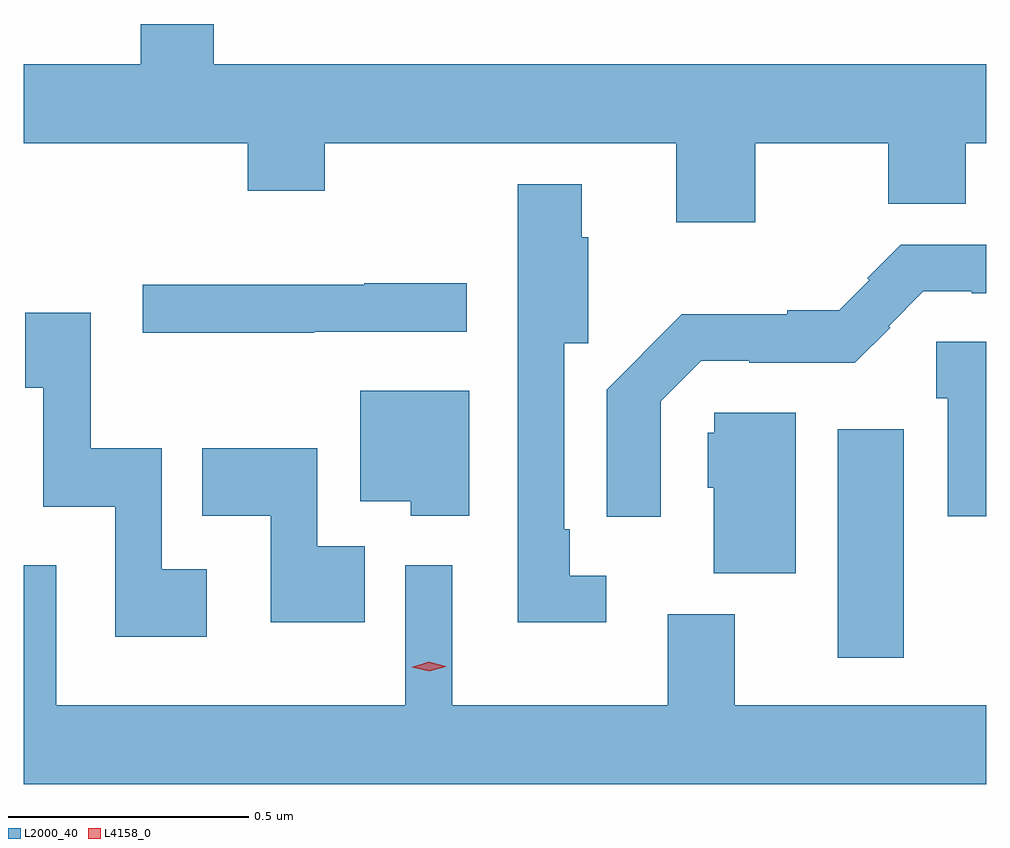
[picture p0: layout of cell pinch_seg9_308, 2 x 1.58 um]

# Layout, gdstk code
import gdstk
lib = gdstk.Library(unit=1e-6, precision=1e-09)
def R(c, l, rs):  # rectangles x0, y0, x1, y1
    for r in rs: c.add(gdstk.rectangle(r[:2], r[2:], *l))
def P(c, l, *ps):  # polygons
    for p in ps: c.add(gdstk.Polygon(p, *l))
L2000_40 = (2000, 40)
L4158_0 = (4158, 0)

pinch_seg9_308 = lib.new_cell('pinch_seg9_308')
R(pinch_seg9_308, L2000_40, [(516.122,1190.022,516.259,1190.497)])
P(pinch_seg9_308, L2000_40, [(515.95,1191.092),(516.227,1191.092),(516.227,1190.966),(516.388,1190.966),(516.388,1191.092),(516.43,1191.092),(516.43,1191.256),(514.825,1191.256),(514.825,1191.34),(514.673,1191.34),(514.673,1191.256),(514.43,1191.256),(514.43,1191.092),(514.895,1191.092),(514.895,1190.993),(515.055,1190.993),(515.055,1191.092),(515.786,1191.092),(515.786,1190.928),(515.95,1190.928)],
  [(515.641,1190.193),(515.565,1190.193),(515.565,1190.29),(515.553,1190.29),(515.553,1190.676),(515.603,1190.676),(515.603,1190.897),(515.59,1190.897),(515.59,1191.007),(515.457,1191.007),(515.457,1190.096),(515.641,1190.096)],
  [(515.754,1190.556),(515.838,1190.64),(515.938,1190.64),(515.938,1190.636),(516.157,1190.636),(516.231,1190.709),(516.228,1190.712),(516.3,1190.784),(516.4,1190.784),(516.4,1190.78),(516.43,1190.78),(516.43,1190.881),(516.253,1190.881),(516.183,1190.811),(516.187,1190.807),(516.125,1190.745),(516.017,1190.745),(516.017,1190.737),(515.797,1190.737),(515.716,1190.655),(515.716,1190.654),(515.642,1190.58),(515.642,1190.316),(515.754,1190.316)],
  [(515.033,1190.7),(515.35,1190.7),(515.35,1190.801),(515.137,1190.801),(515.137,1190.798),(514.677,1190.798),(514.677,1190.698),(515.033,1190.698)],
  [(514.81,1190.206),(514.716,1190.206),(514.716,1190.458),(514.569,1190.458),(514.569,1190.74),(514.433,1190.74),(514.433,1190.584),(514.47,1190.584),(514.47,1190.336),(514.62,1190.336),(514.62,1190.066),(514.81,1190.066)],
  [(516.43,1190.679),(516.327,1190.679),(516.327,1190.562),(516.35,1190.562),(516.35,1190.317),(516.43,1190.317)],
  [(515.356,1190.578),(515.129,1190.578),(515.129,1190.348),(515.234,1190.348),(515.234,1190.318),(515.356,1190.318)],
  [(516.034,1190.532),(515.865,1190.532),(515.865,1190.49),(515.852,1190.49),(515.852,1190.376),(515.864,1190.376),(515.864,1190.198),(516.034,1190.198)],
  [(515.138,1190.254),(515.04,1190.254),(515.04,1190.458),(514.801,1190.458),(514.801,1190.318),(514.943,1190.318),(514.943,1190.096),(515.138,1190.096)],
  [(516.43,1189.924),(515.908,1189.924),(515.908,1190.113),(515.768,1190.113),(515.768,1189.924),(515.32,1189.924),(515.32,1190.215),(515.223,1190.215),(515.223,1189.924),(514.497,1189.924),(514.497,1190.215),(514.43,1190.215),(514.43,1189.76),(516.43,1189.76)])
P(pinch_seg9_308, L4158_0, [(515.272,1189.994),(515.236,1190.003),(515.235,1190.003),(515.236,1190.003),(515.271,1190.014),(515.307,1190.005),(515.307,1190.005),(515.307,1190.004)])

lib.write_gds('pinch_seg9_308.gds')
